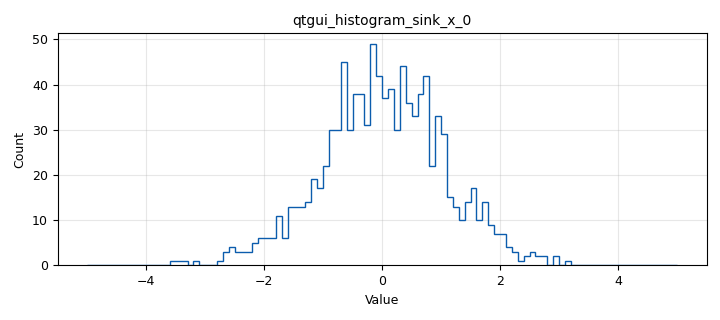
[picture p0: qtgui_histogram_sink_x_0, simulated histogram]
<?xml version='1.0' encoding='utf-8'?>
<?grc format='1' created='3.7.13'?>
<flow_graph>
<block>
<key>options</key>
<param><key>id</key><value>top_block</value></param>
<param><key>category</key><value>Custom</value></param>
<param><key>generate_options</key><value>qt_gui</value></param>
</block>
<block>
<key>variable</key>
<param><key>id</key><value>samp_rate</value></param>
<param><key>value</key><value>32000</value></param>
</block>
<block>
<key>analog_noise_source_x</key>
<param><key>id</key><value>analog_noise_source_x_0</value></param>
<param><key>amp</key><value>1</value></param>
<param><key>noise_type</key><value>analog.GR_GAUSSIAN</value></param>
<param><key>type</key><value>float</value></param>
<param><key>seed</key><value>0</value></param>
</block>
<block>
<key>blocks_throttle</key>
<param><key>id</key><value>blocks_throttle_0</value></param>
<param><key>samples_per_second</key><value>samp_rate</value></param>
<param><key>type</key><value>float</value></param>
</block>
<block>
<key>qtgui_histogram_sink_x</key>
<param><key>id</key><value>qtgui_histogram_sink_x_0</value></param>
<param><key>xmax</key><value>5</value></param>
<param><key>xmin</key><value>-5</value></param>
<param><key>bins</key><value>100</value></param>
<param><key>size</key><value>1024</value></param>
<param><key>type</key><value>float</value></param>
</block>
<connection><source_block_id>analog_noise_source_x_0</source_block_id><sink_block_id>blocks_throttle_0</sink_block_id><source_key>0</source_key><sink_key>0</sink_key></connection>
<connection><source_block_id>blocks_throttle_0</source_block_id><sink_block_id>qtgui_histogram_sink_x_0</sink_block_id><source_key>0</source_key><sink_key>0</sink_key></connection>
</flow_graph>
